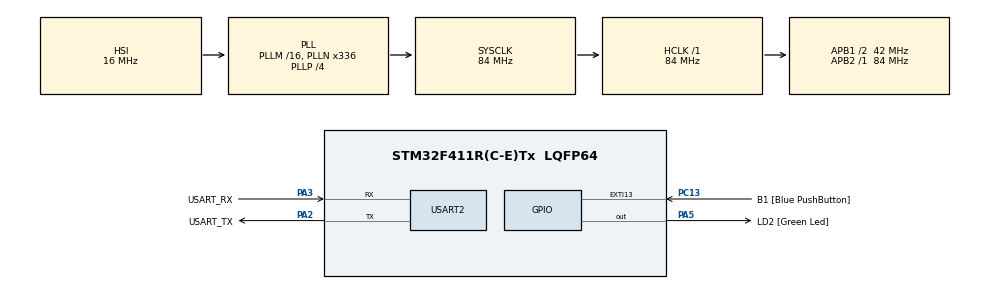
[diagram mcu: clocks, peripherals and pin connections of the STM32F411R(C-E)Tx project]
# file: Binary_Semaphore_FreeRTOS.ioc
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FREERTOS.Tasks01=defaultTask,0,128,StartDefaultTask,Default,NULL,Dynamic,NULL,NULL;SenderTask,0,256,StartSenderTask,Default,NULL,Dynamic,NULL,NULL;ReceiverTask,1,256,StartReceiverTask,Default,NULL,Dynamic,NULL,NULL
Mcu.Family=STM32F4
Mcu.Name=STM32F411R(C-E)Tx
Mcu.Package=LQFP64
NVIC.PriorityGroup=NVIC_PRIORITYGROUP_4
PA13.GPIO_Label=TMS
PA13.Mode=Serial_Wire
PA13.Signal=SYS_JTMS-SWDIO
PA14.GPIO_Label=TCK
PA14.Mode=Serial_Wire
PA14.Signal=SYS_JTCK-SWCLK
PA2.GPIO_Label=USART_TX
PA2.Mode=Asynchronous
PA2.Signal=USART2_TX
PA3.GPIO_Label=USART_RX
PA3.Mode=Asynchronous
PA3.Signal=USART2_RX
PA5.GPIO_Label=LD2 [Green Led]
PA5.Signal=GPIO_Output
PB3.GPIO_Label=SWO
PB3.Signal=SYS_JTDO-SWO
PC13-ANTI_TAMP.GPIO_Label=B1 [Blue PushButton]
PC13-ANTI_TAMP.GPIO_ModeDefaultEXTI=GPIO_MODE_IT_FALLING
PC13-ANTI_TAMP.Signal=GPXTI13
PC14-OSC32_IN.Mode=LSE-External-Oscillator
PC14-OSC32_IN.Signal=RCC_OSC32_IN
PC15-OSC32_OUT.Mode=LSE-External-Oscillator
PC15-OSC32_OUT.Signal=RCC_OSC32_OUT
PH0\ -\ OSC_IN.Mode=HSE-External-Clock-Source
PH0\ -\ OSC_IN.Signal=RCC_OSC_IN
PH1\ -\ OSC_OUT.Mode=HSE-External-Clock-Source
PH1\ -\ OSC_OUT.Signal=RCC_OSC_OUT
ProjectManager.HeapSize=0x200
ProjectManager.StackSize=0x400
ProjectManager.TargetToolchain=STM32CubeIDE
RCC.48MHZClocksFreq_Value=84000000
RCC.AHBFreq_Value=84000000
RCC.APB1CLKDivider=RCC_HCLK_DIV2
RCC.APB1Freq_Value=42000000
RCC.APB1TimFreq_Value=84000000
RCC.APB2Freq_Value=84000000
RCC.APB2TimFreq_Value=84000000
RCC.CortexFreq_Value=84000000
RCC.FLatency-AdvancedSettings=FLASH_LATENCY_2
RCC.HCLKFreq_Value=84000000
RCC.HSE_VALUE=8000000
RCC.HSI_VALUE=16000000
RCC.PLLN=336
RCC.PLLP=RCC_PLLP_DIV4
RCC.SYSCLKFreq_VALUE=84000000
RCC.SYSCLKSource=RCC_SYSCLKSOURCE_PLLCLK
RCC.VCOOutputFreq_Value=336000000
USART2.VirtualMode=VM_ASYNC
VP_FREERTOS_VS_CMSIS_V1.Mode=CMSIS_V1
board=NUCLEO-F411RE

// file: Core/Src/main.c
/* USER CODE BEGIN Header */
/**
  ******************************************************************************
  * @file           : main.c
  * @brief          : Main program body
  ******************************************************************************
  * @attention
  *
  * Copyright (c) 2026 STMicroelectronics.
  * All rights reserved.
  *
  * This software is licensed under terms that can be found in the LICENSE file
  * in the root directory of this software component.
  * If no LICENSE file comes with this software, it is provided AS-IS.
  *
  ******************************************************************************
  */
/* USER CODE END Header */
#include "main.h"
#include "cmsis_os.h"

/* USER CODE BEGIN Includes */
#include <string.h>
#include <stdio.h>
#include "semphr.h"
/* USER CODE END Includes */

UART_HandleTypeDef huart2;

osThreadId defaultTaskHandle;
osThreadId SenderTaskHandle;
osThreadId ReceiverTaskHandle;
/* USER CODE BEGIN PV */
SemaphoreHandle_t myBinarySem;
SemaphoreHandle_t uartMutex;
/* USER CODE END PV */

void SystemClock_Config(void);
static void MX_GPIO_Init(void);
static void MX_USART2_UART_Init(void);
void StartDefaultTask(void const * argument);
void StartSenderTask(void const * argument);
void StartReceiverTask(void const * argument);

int main(void)
{

  /* MCU Configuration--------------------------------------------------------*/

  /* Reset of all peripherals, Initializes the Flash interface and the Systick. */
  HAL_Init();

  /* Configure the system clock */
  SystemClock_Config();

  /* Initialize all configured peripherals */
  MX_GPIO_Init();
  MX_USART2_UART_Init();

  /* USER CODE BEGIN RTOS_MUTEX */
  /* add mutexes, ... */
  /* USER CODE BEGIN RTOS_MUTEX */
  osMutexDef(uartMutex);
  uartMutex = osMutexCreate(osMutex(uartMutex));   // ✅ Create mutex
  /* USER CODE END RTOS_MUTEX */
  /* USER CODE END RTOS_MUTEX */

  /* USER CODE BEGIN RTOS_SEMAPHORES */
  myBinarySem = xSemaphoreCreateBinary();
  uartMutex   = xSemaphoreCreateMutex();
  /* USER CODE END RTOS_SEMAPHORES */

  /* Create the thread(s) */
  /* definition and creation of defaultTask */
  osThreadDef(defaultTask, StartDefaultTask, osPriorityNormal, 0, 128);
  defaultTaskHandle = osThreadCreate(osThread(defaultTask), NULL);

  /* definition and creation of SenderTask */
  osThreadDef(SenderTask, StartSenderTask, osPriorityNormal, 0, 256);
  SenderTaskHandle = osThreadCreate(osThread(SenderTask), NULL);

  /* definition and creation of ReceiverTask */
  osThreadDef(ReceiverTask, StartReceiverTask, osPriorityAboveNormal, 0, 256);
  ReceiverTaskHandle = osThreadCreate(osThread(ReceiverTask), NULL);

  /* Start scheduler */
  osKernelStart();

  /* We should never get here as control is now taken by the scheduler */

  /* Infinite loop */
  while (1)
  {

  }
}

void SystemClock_Config(void)
{
  RCC_OscInitTypeDef RCC_OscInitStruct = {0};
  RCC_ClkInitTypeDef RCC_ClkInitStruct = {0};

  /** Configure the main internal regulator output voltage
  */
  __HAL_RCC_PWR_CLK_ENABLE();
  __HAL_PWR_VOLTAGESCALING_CONFIG(PWR_REGULATOR_VOLTAGE_SCALE1);

  /** Initializes the RCC Oscillators according to the specified parameters
  * in the RCC_OscInitTypeDef structure.
  */
  RCC_OscInitStruct.OscillatorType = RCC_OSCILLATORTYPE_HSI;
  RCC_OscInitStruct.HSIState = RCC_HSI_ON;
  RCC_OscInitStruct.HSICalibrationValue = RCC_HSICALIBRATION_DEFAULT;
  RCC_OscInitStruct.PLL.PLLState = RCC_PLL_ON;
  RCC_OscInitStruct.PLL.PLLSource = RCC_PLLSOURCE_HSI;
  RCC_OscInitStruct.PLL.PLLM = 16;
  RCC_OscInitStruct.PLL.PLLN = 336;
  RCC_OscInitStruct.PLL.PLLP = RCC_PLLP_DIV4;
  RCC_OscInitStruct.PLL.PLLQ = 4;
  if (HAL_RCC_OscConfig(&RCC_OscInitStruct) != HAL_OK)
  {
    Error_Handler();
  }

  /** Initializes the CPU, AHB and APB buses clocks
  */
  RCC_ClkInitStruct.ClockType = RCC_CLOCKTYPE_HCLK|RCC_CLOCKTYPE_SYSCLK
                              |RCC_CLOCKTYPE_PCLK1|RCC_CLOCKTYPE_PCLK2;
  RCC_ClkInitStruct.SYSCLKSource = RCC_SYSCLKSOURCE_PLLCLK;
  RCC_ClkInitStruct.AHBCLKDivider = RCC_SYSCLK_DIV1;
  RCC_ClkInitStruct.APB1CLKDivider = RCC_HCLK_DIV2;
  RCC_ClkInitStruct.APB2CLKDivider = RCC_HCLK_DIV1;

  if (HAL_RCC_ClockConfig(&RCC_ClkInitStruct, FLASH_LATENCY_2) != HAL_OK)
  {
    Error_Handler();
  }
}

static void MX_USART2_UART_Init(void)
{

  huart2.Instance = USART2;
  huart2.Init.BaudRate = 115200;
  huart2.Init.WordLength = UART_WORDLENGTH_8B;
  huart2.Init.StopBits = UART_STOPBITS_1;
  huart2.Init.Parity = UART_PARITY_NONE;
  huart2.Init.Mode = UART_MODE_TX_RX;
  huart2.Init.HwFlowCtl = UART_HWCONTROL_NONE;
  huart2.Init.OverSampling = UART_OVERSAMPLING_16;
  if (HAL_UART_Init(&huart2) != HAL_OK)
  {
    Error_Handler();
  }

}

static void MX_GPIO_Init(void)
{
  GPIO_InitTypeDef GPIO_InitStruct = {0};

  /* GPIO Ports Clock Enable */
  __HAL_RCC_GPIOC_CLK_ENABLE();
  __HAL_RCC_GPIOH_CLK_ENABLE();
  __HAL_RCC_GPIOA_CLK_ENABLE();
  __HAL_RCC_GPIOB_CLK_ENABLE();

  /*Configure GPIO pin Output Level */
  HAL_GPIO_WritePin(LD2_GPIO_Port, LD2_Pin, GPIO_PIN_RESET);

  /*Configure GPIO pin : B1_Pin */
  GPIO_InitStruct.Pin = B1_Pin;
  GPIO_InitStruct.Mode = GPIO_MODE_IT_FALLING;
  GPIO_InitStruct.Pull = GPIO_NOPULL;
  HAL_GPIO_Init(B1_GPIO_Port, &GPIO_InitStruct);

  /*Configure GPIO pin : LD2_Pin */
  GPIO_InitStruct.Pin = LD2_Pin;
  GPIO_InitStruct.Mode = GPIO_MODE_OUTPUT_PP;
  GPIO_InitStruct.Pull = GPIO_NOPULL;
  GPIO_InitStruct.Speed = GPIO_SPEED_FREQ_LOW;
  HAL_GPIO_Init(LD2_GPIO_Port, &GPIO_InitStruct);

}

void StartDefaultTask(void const * argument)
{
  for(;;)
  {
    osDelay(1);
  }
}

void StartSenderTask(void const * argument)
{
  /* USER CODE BEGIN StartSenderTask */
  char msg[] = "[Sender] Semaphore Given!\r\n";

  for(;;)
  {
    osDelay(2000);

    xSemaphoreTake(uartMutex, portMAX_DELAY);   // 🔒 Lock UART
    HAL_UART_Transmit(&huart2, (uint8_t*)msg, strlen(msg), HAL_MAX_DELAY);
    xSemaphoreGive(uartMutex);                  // 🔓 Unlock UART

    xSemaphoreGive(myBinarySem);                // Signal Receiver
  }
  /* USER CODE END StartSenderTask */
}

void StartReceiverTask(void const * argument)
{
  /* USER CODE BEGIN StartReceiverTask */
  char msg[] = "[Receiver] Got Semaphore! LED Toggled!\r\n";

  for(;;)
  {
    if(xSemaphoreTake(myBinarySem, portMAX_DELAY) == pdTRUE)
    {
      xSemaphoreTake(uartMutex, portMAX_DELAY); // 🔒 Lock UART
      HAL_UART_Transmit(&huart2, (uint8_t*)msg, strlen(msg), HAL_MAX_DELAY);
      xSemaphoreGive(uartMutex);                // 🔓 Unlock UART

      HAL_GPIO_TogglePin(LD2_GPIO_Port, LD2_Pin);
    }
  }
  /* USER CODE END StartReceiverTask */
}

void Error_Handler(void)
{
  __disable_irq();
  while (1)
  {
  }
}

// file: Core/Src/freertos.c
/* USER CODE BEGIN Header */
/**
  ******************************************************************************
  * File Name          : freertos.c
  * Description        : Code for freertos applications
  ******************************************************************************
  * @attention
  *
  * Copyright (c) 2026 STMicroelectronics.
  * All rights reserved.
  *
  * This software is licensed under terms that can be found in the LICENSE file
  * in the root directory of this software component.
  * If no LICENSE file comes with this software, it is provided AS-IS.
  *
  ******************************************************************************
  */
/* USER CODE END Header */

#include "FreeRTOS.h"
#include "task.h"
#include "main.h"

/* USER CODE BEGIN Includes */
#include "main.h"
#include "cmsis_os.h"
#include "semphr.h"
#include <string.h>
#include <stdio.h>
/* USER CODE END Includes */

/* USER CODE BEGIN Variables */
extern SemaphoreHandle_t myBinarySem;
extern SemaphoreHandle_t uartMutex;
/* USER CODE END Variables */

/* GetIdleTaskMemory prototype (linked to static allocation support) */
void vApplicationGetIdleTaskMemory( StaticTask_t **ppxIdleTaskTCBBuffer, StackType_t **ppxIdleTaskStackBuffer, uint32_t *pulIdleTaskStackSize );

/* USER CODE BEGIN GET_IDLE_TASK_MEMORY */
static StaticTask_t xIdleTaskTCBBuffer;
static StackType_t xIdleStack[configMINIMAL_STACK_SIZE];

void vApplicationGetIdleTaskMemory( StaticTask_t **ppxIdleTaskTCBBuffer, StackType_t **ppxIdleTaskStackBuffer, uint32_t *pulIdleTaskStackSize )
{
  *ppxIdleTaskTCBBuffer = &xIdleTaskTCBBuffer;
  *ppxIdleTaskStackBuffer = &xIdleStack[0];
  *pulIdleTaskStackSize = configMINIMAL_STACK_SIZE;
  /* place for user code */
}
/* USER CODE END GET_IDLE_TASK_MEMORY */
